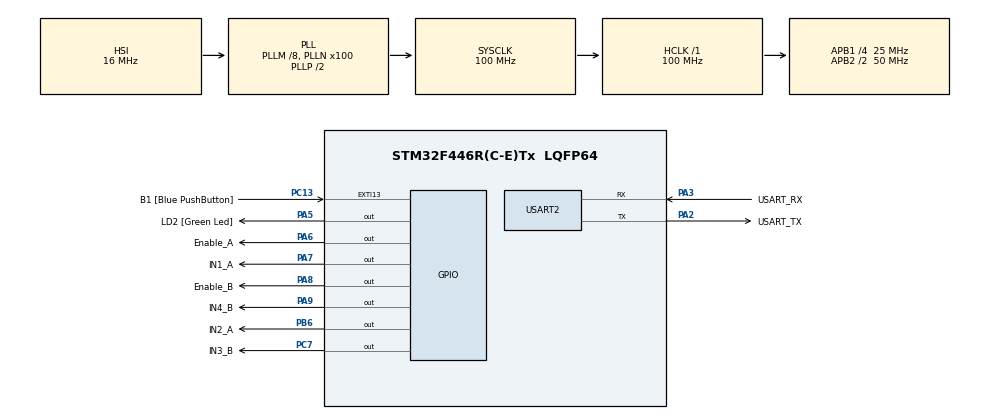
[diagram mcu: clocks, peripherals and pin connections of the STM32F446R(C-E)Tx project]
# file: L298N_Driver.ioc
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Mcu.Family=STM32F4
Mcu.Name=STM32F446R(C-E)Tx
Mcu.Package=LQFP64
NVIC.PriorityGroup=NVIC_PRIORITYGROUP_0
PA13.GPIO_Label=TMS
PA13.Mode=Serial_Wire
PA13.Signal=SYS_JTMS-SWDIO
PA14.GPIO_Label=TCK
PA14.Mode=Serial_Wire
PA14.Signal=SYS_JTCK-SWCLK
PA2.GPIO_Label=USART_TX
PA2.Mode=Asynchronous
PA2.Signal=USART2_TX
PA3.GPIO_Label=USART_RX
PA3.Mode=Asynchronous
PA3.Signal=USART2_RX
PA5.GPIO_Label=LD2 [Green Led]
PA5.Signal=GPIO_Output
PA6.GPIO_Label=Enable_A
PA6.Signal=GPIO_Output
PA7.GPIO_Label=IN1_A
PA7.Signal=GPIO_Output
PA8.GPIO_Label=Enable_B
PA8.Signal=GPIO_Output
PA9.GPIO_Label=IN4_B
PA9.Signal=GPIO_Output
PB3.GPIO_Label=SWO
PB3.Signal=SYS_JTDO-SWO
PB6.GPIO_Label=IN2_A
PB6.Signal=GPIO_Output
PC13.GPIO_Label=B1 [Blue PushButton]
PC13.GPIO_ModeDefaultEXTI=GPIO_MODE_IT_FALLING
PC13.Signal=GPXTI13
PC14-OSC32_IN.Mode=LSE-External-Oscillator
PC14-OSC32_IN.Signal=RCC_OSC32_IN
PC15-OSC32_OUT.Mode=LSE-External-Oscillator
PC15-OSC32_OUT.Signal=RCC_OSC32_OUT
PC7.GPIO_Label=IN3_B
PC7.Signal=GPIO_Output
PH0-OSC_IN.Mode=HSE-External-Oscillator
PH0-OSC_IN.Signal=RCC_OSC_IN
PH1-OSC_OUT.Mode=HSE-External-Oscillator
PH1-OSC_OUT.Signal=RCC_OSC_OUT
ProjectManager.HeapSize=0x200
ProjectManager.StackSize=0x400
ProjectManager.TargetToolchain=SW4STM32
RCC.48MHZClocksFreq_Value=84000000
RCC.AHBFreq_Value=100000000
RCC.APB1CLKDivider=RCC_HCLK_DIV4
RCC.APB1Freq_Value=25000000
RCC.APB1TimFreq_Value=50000000
RCC.APB2CLKDivider=RCC_HCLK_DIV2
RCC.APB2Freq_Value=50000000
RCC.APB2TimFreq_Value=100000000
RCC.CortexFreq_Value=100000000
RCC.FLatency-AdvancedSettings=FLASH_LATENCY_3
RCC.HCLKFreq_Value=100000000
RCC.HSE_VALUE=8000000
RCC.HSI_VALUE=16000000
RCC.PLLM=8
RCC.PLLN=100
RCC.SYSCLKFreq_VALUE=100000000
RCC.SYSCLKSource=RCC_SYSCLKSOURCE_PLLCLK
RCC.USBFreq_Value=100000000
RCC.VCOOutputFreq_Value=200000000
USART2.VirtualMode=VM_ASYNC
board=NUCLEO-F446RE

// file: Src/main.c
/* USER CODE BEGIN Header */
/**
  ******************************************************************************
  * @file           : main.c
  * @brief          : Main program body
  ******************************************************************************
  * @attention
  *
  * <h2><center>&copy; Copyright (c) 2019 STMicroelectronics.
  * All rights reserved.</center></h2>
  *
  * This software component is licensed by ST under BSD 3-Clause license,
  * the "License"; You may not use this file except in compliance with the
  * License. You may obtain a copy of the License at:
  *                        opensource.org/licenses/BSD-3-Clause
  *
  ******************************************************************************
  */
/* USER CODE END Header */

#include "main.h"
#include "usart.h"
#include "gpio.h"

/* USER CODE BEGIN PD */
#define MotorSteps 100
/* USER CODE END PD */

void SystemClock_Config(void);

/* USER CODE BEGIN 0 */

void vordrehen(float Step_Time){
		for(int a=0; a<MotorSteps;a++){
			  HAL_GPIO_WritePin(IN1_A_GPIO_Port,IN1_A_Pin,1);
			  HAL_GPIO_WritePin(IN3_B_GPIO_Port,IN3_B_Pin,1);
			  HAL_GPIO_WritePin(IN2_A_GPIO_Port,IN2_A_Pin,0);
			  HAL_GPIO_WritePin(IN4_B_GPIO_Port,IN4_B_Pin,0);
			  HAL_Delay(Step_Time);
			  HAL_GPIO_WritePin(IN1_A_GPIO_Port,IN1_A_Pin,0);
			  HAL_GPIO_WritePin(IN3_B_GPIO_Port,IN3_B_Pin,1);
			  HAL_GPIO_WritePin(IN2_A_GPIO_Port,IN2_A_Pin,1);
			  HAL_GPIO_WritePin(IN4_B_GPIO_Port,IN4_B_Pin,0);
			  HAL_Delay(Step_Time);
			  HAL_GPIO_WritePin(IN1_A_GPIO_Port,IN1_A_Pin,0);
			  HAL_GPIO_WritePin(IN3_B_GPIO_Port,IN3_B_Pin,0);
			  HAL_GPIO_WritePin(IN2_A_GPIO_Port,IN2_A_Pin,1);
			  HAL_GPIO_WritePin(IN4_B_GPIO_Port,IN4_B_Pin,1);
			  HAL_Delay(Step_Time);
			  HAL_GPIO_WritePin(IN1_A_GPIO_Port,IN1_A_Pin,1);
			  HAL_GPIO_WritePin(IN3_B_GPIO_Port,IN3_B_Pin,0);
			  HAL_GPIO_WritePin(IN2_A_GPIO_Port,IN2_A_Pin,0);
			  HAL_GPIO_WritePin(IN4_B_GPIO_Port,IN4_B_Pin,1);
			  HAL_Delay(Step_Time);
	}
}

void zurueckdrehen(float Step_Time){
		for(int b=0; b<MotorSteps;b++){
			  HAL_GPIO_WritePin(IN1_A_GPIO_Port,IN1_A_Pin,1);
			  HAL_GPIO_WritePin(IN3_B_GPIO_Port,IN3_B_Pin,0);
			  HAL_GPIO_WritePin(IN2_A_GPIO_Port,IN2_A_Pin,0);
			  HAL_GPIO_WritePin(IN4_B_GPIO_Port,IN4_B_Pin,1);
			  HAL_Delay(Step_Time);
			  HAL_GPIO_WritePin(IN1_A_GPIO_Port,IN1_A_Pin,0);
			  HAL_GPIO_WritePin(IN3_B_GPIO_Port,IN3_B_Pin,0);
			  HAL_GPIO_WritePin(IN2_A_GPIO_Port,IN2_A_Pin,1);
			  HAL_GPIO_WritePin(IN4_B_GPIO_Port,IN4_B_Pin,1);
			  HAL_Delay(Step_Time);
			  HAL_GPIO_WritePin(IN1_A_GPIO_Port,IN1_A_Pin,0);
			  HAL_GPIO_WritePin(IN3_B_GPIO_Port,IN3_B_Pin,1);
			  HAL_GPIO_WritePin(IN2_A_GPIO_Port,IN2_A_Pin,1);
			  HAL_GPIO_WritePin(IN4_B_GPIO_Port,IN4_B_Pin,0);
			  HAL_Delay(Step_Time);
			  HAL_GPIO_WritePin(IN1_A_GPIO_Port,IN1_A_Pin,1);
			  HAL_GPIO_WritePin(IN3_B_GPIO_Port,IN3_B_Pin,1);
			  HAL_GPIO_WritePin(IN2_A_GPIO_Port,IN2_A_Pin,0);
			  HAL_GPIO_WritePin(IN4_B_GPIO_Port,IN4_B_Pin,0);
			  HAL_Delay(Step_Time);
	}
}

/* USER CODE END 0 */

int main(void)
{

  /* MCU Configuration--------------------------------------------------------*/

  /* Reset of all peripherals, Initializes the Flash interface and the Systick. */
  HAL_Init();

  /* Configure the system clock */
  SystemClock_Config();

  /* Initialize all configured peripherals */
  MX_GPIO_Init();
  MX_USART2_UART_Init();

  /* Infinite loop */
  while (1)
  {

    /* USER CODE BEGIN 3 */
vordrehen(0.005);
HAL_Delay(2000);
zurueckdrehen(0.005);

  }
  /* USER CODE END 3 */
}

void SystemClock_Config(void)
{
  RCC_OscInitTypeDef RCC_OscInitStruct = {0};
  RCC_ClkInitTypeDef RCC_ClkInitStruct = {0};

  /** Configure the main internal regulator output voltage
  */
  __HAL_RCC_PWR_CLK_ENABLE();
  __HAL_PWR_VOLTAGESCALING_CONFIG(PWR_REGULATOR_VOLTAGE_SCALE3);
  /** Initializes the CPU, AHB and APB busses clocks
  */
  RCC_OscInitStruct.OscillatorType = RCC_OSCILLATORTYPE_HSI;
  RCC_OscInitStruct.HSIState = RCC_HSI_ON;
  RCC_OscInitStruct.HSICalibrationValue = RCC_HSICALIBRATION_DEFAULT;
  RCC_OscInitStruct.PLL.PLLState = RCC_PLL_ON;
  RCC_OscInitStruct.PLL.PLLSource = RCC_PLLSOURCE_HSI;
  RCC_OscInitStruct.PLL.PLLM = 8;
  RCC_OscInitStruct.PLL.PLLN = 100;
  RCC_OscInitStruct.PLL.PLLP = RCC_PLLP_DIV2;
  RCC_OscInitStruct.PLL.PLLQ = 2;
  RCC_OscInitStruct.PLL.PLLR = 2;
  if (HAL_RCC_OscConfig(&RCC_OscInitStruct) != HAL_OK)
  {
    Error_Handler();
  }
  /** Initializes the CPU, AHB and APB busses clocks
  */
  RCC_ClkInitStruct.ClockType = RCC_CLOCKTYPE_HCLK|RCC_CLOCKTYPE_SYSCLK
                              |RCC_CLOCKTYPE_PCLK1|RCC_CLOCKTYPE_PCLK2;
  RCC_ClkInitStruct.SYSCLKSource = RCC_SYSCLKSOURCE_PLLCLK;
  RCC_ClkInitStruct.AHBCLKDivider = RCC_SYSCLK_DIV1;
  RCC_ClkInitStruct.APB1CLKDivider = RCC_HCLK_DIV4;
  RCC_ClkInitStruct.APB2CLKDivider = RCC_HCLK_DIV2;

  if (HAL_RCC_ClockConfig(&RCC_ClkInitStruct, FLASH_LATENCY_3) != HAL_OK)
  {
    Error_Handler();
  }
}

void Error_Handler(void)
{
}

/************************ (C) COPYRIGHT STMicroelectronics *****END OF FILE****/
